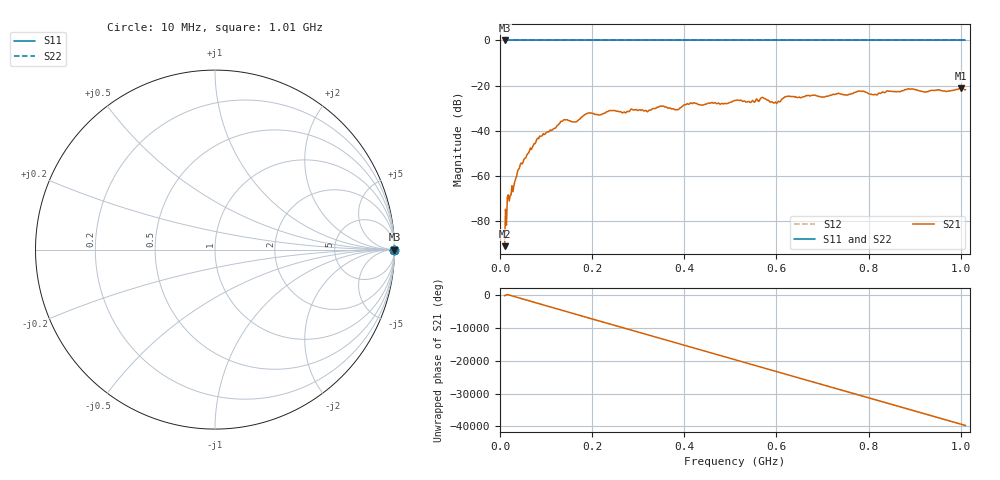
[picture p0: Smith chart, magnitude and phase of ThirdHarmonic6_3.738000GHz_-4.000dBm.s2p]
! 8/17/2025 12:47:21 PM
! C:\ANRITSUVNA\TEMP\TEMP.S2P
! CHANNEL.1
! TR.MEASUREMENT
! RAW.DATA
! RF.CORRECTION.OFF
! AVERAGING.OFF
! IF.BANDWIDTH: 5KHZ
! SWEEPTYPE:  FREQ.SWEEP(Linear)
! Reference Plane Port Info
! PORT:  PORT1  PORT2
! DISTANCE:  0  m  0  m
! TIME:  0  s  0  s
! PHASE.OFFSET:  0  deg.  0  deg.
! LOSS:  0  dB  0  dB
! REF.LOSS:  0  dB  0  dB
! REF.FREQ:  0  Hz  0  Hz
! Power Info
! POWER:  -20  dBm  -20  dBm
! EFF.POWER:  -20  dBm  -20  dBm
! SOURCE.ATTEN:  0  dB  0  dB
! TEST.ATTEN:  0  dB  0  dB
# GHZ S RI R 50.0
! FREQ.GHZ  S11RE  S11IM  S21RE  S21IM  S12RE  S12IM  S22RE  S22IM
!; PortSelection: Port_12
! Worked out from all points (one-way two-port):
!   501 points, 10 MHz to 1.01 GHz, reference 50 ohm
!   highest |S21| = -21.21 dB at 1 GHz (marker M1); lowest = -91.1 dB at 10 MHz (marker M2)
!   lowest |S11| = 0.0 dB at 10 MHz (marker M3)
!   |S11| at or under -10 dB: nowhere
!   |S22| runs from 0.0 to 0.0 dB; largest |S21 - S12| = 1.1
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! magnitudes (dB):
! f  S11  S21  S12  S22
! 10 MHz  0.0  -91.1  0.0  0.0
! 20 MHz  0.0  -71.2  0.0  0.0
! 42 MHz  0.0  -56.7  0.0  0.0
! 82 MHz  0.0  -43.3  0.0  0.0
! 136 MHz  0.0  -35.7  0.0  0.0
! 162 MHz  0.0  -36.1  0.0  0.0
! 178 MHz  0.0  -33.8  0.0  0.0
! 192 MHz  0.0  -32.1  0.0  0.0
! 318 MHz  0.0  -31.3  0.0  0.0
! 344 MHz  0.0  -29.6  0.0  0.0
! 384 MHz  0.0  -30.6  0.0  0.0
! 416 MHz  0.0  -27.9  0.0  0.0
! 510 MHz  0.0  -26.6  0.0  0.0
! 548 MHz  0.0  -26.5  0.0  0.0
! 570 MHz  0.0  -25.2  0.0  0.0
! 598 MHz  0.0  -27.3  0.0  0.0
! 622 MHz  0.0  -24.8  0.0  0.0
! 678 MHz  0.0  -24.3  0.0  0.0
! 814 MHz  0.0  -23.8  0.0  0.0
! 844 MHz  0.0  -22.5  0.0  0.0
! 1 GHz  0.0  -21.2  0.0  0.0
! 1.01 GHz  0.0  -21.8  0.0  0.0
